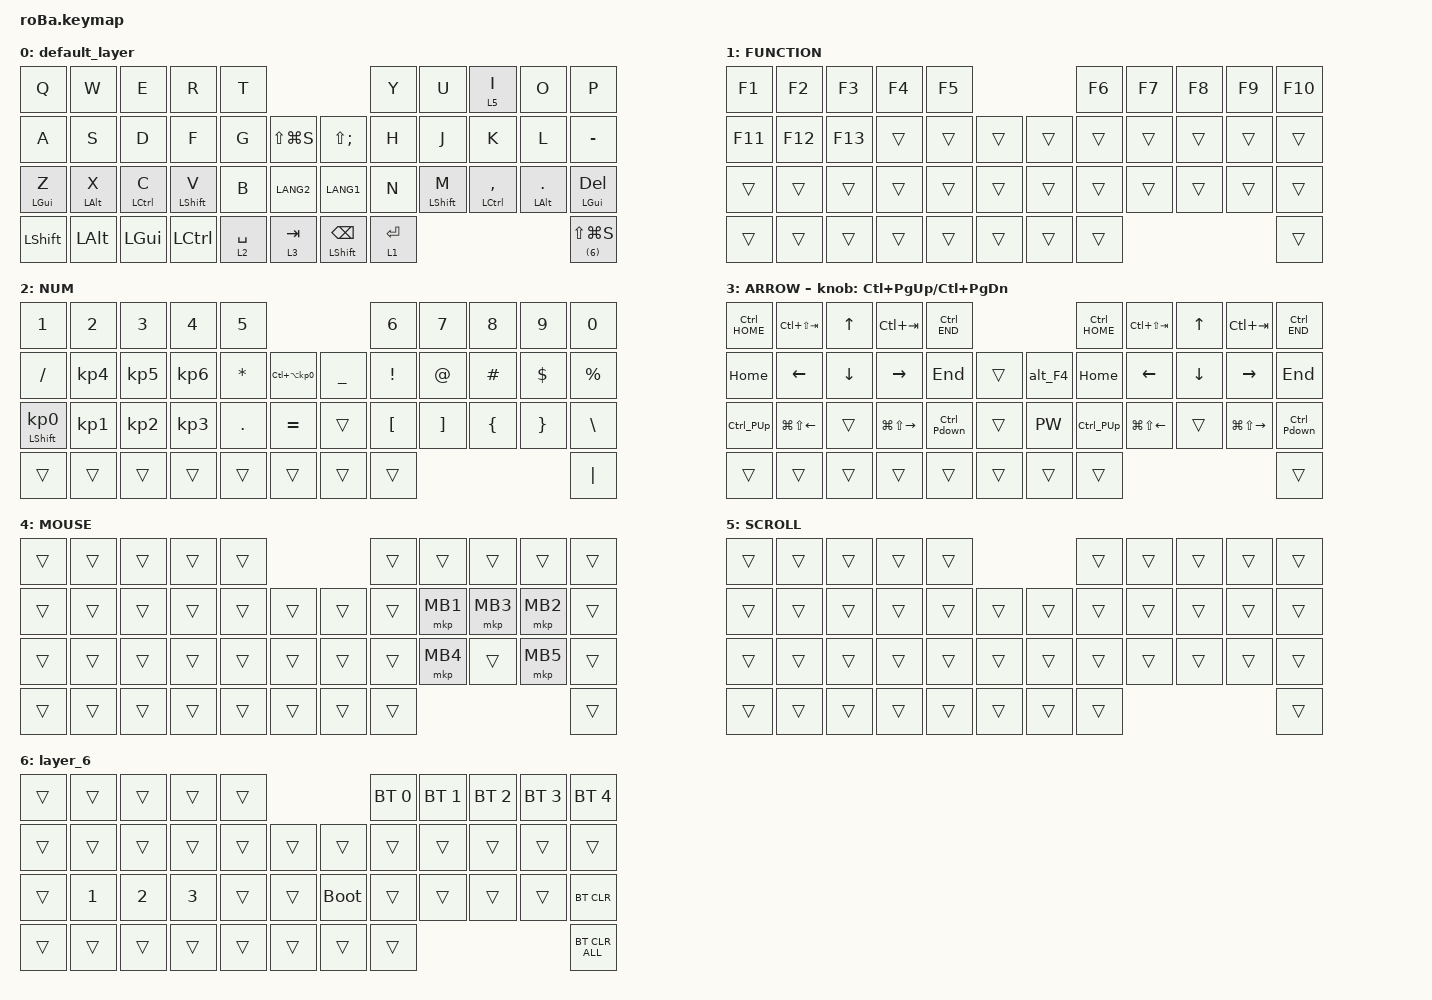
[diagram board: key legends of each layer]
#include <behaviors.dtsi>
#include <dt-bindings/zmk/bt.h>
#include <dt-bindings/zmk/keys.h>
#include <dt-bindings/zmk/pointing.h>

&mt {
    flavor = "balanced";
    quick-tap-ms = <0>;
};

&trackball {
    automouse-layer = <4>;
    scroll-layers = <5>;

    // arrows {
    //     layers = <3>;
    //     bindings =
    //         <&kp RIGHT_ARROW>,
    //         <&kp LEFT_ARROW>,
    //         <&kp UP_ARROW>,
    //         <&kp DOWN_ARROW>;
    //     tick = <10>;
    //     wait-ms = <5>;
    //     tap-ms = <5>;
    // };
};

/ {
    combos {
        compatible = "zmk,combos";

        tab {
            bindings = <&kp TAB>;
            key-positions = <11 12>;
        };

        shift_tab {
            bindings = <&kp LS(TAB)>;
            key-positions = <12 13>;
        };

        double_quotation {
            bindings = <&kp DOUBLE_QUOTES>;
            key-positions = <20 21>;
        };

        eq {
            bindings = <&kp LS(MINUS)>;
            key-positions = <24 25>;
        };

        escape {
            bindings = <&kp ESCAPE>;
            key-positions = <0 1>;
        };

        kakko {
            bindings = <&kakko>;
            key-positions = <31 32>;
        };

        ALT_TAB {
            bindings = <&ALT_TAB>;
            key-positions = <3 4>;
        };
    };

    macros {
        to_layer_0: to_layer_0 {
            compatible = "zmk,behavior-macro-one-param";
            #binding-cells = <1>;
            bindings = <&to 0 &macro_param_1to1 &kp MACRO_PLACEHOLDER>;
            label = "TO_LAYER_0";
        };

        PW: PW {
            compatible = "zmk,behavior-macro";
            #binding-cells = <0>;
            bindings = <&kp KP_NUMBER_1 &kp KP_NUMBER_2 &kp KP_NUMBER_0 &kp KP_NUMBER_9 &kp KP_NUMBER_1 &kp KP_NUMBER_2 &kp KP_NUMBER_0 &kp KP_NUMBER_9 &kp KP_NUMBER_1 &kp KP_NUMBER_2 &kp KP_NUMBER_0 &kp KP_NUMBER_9 &kp KP_NUMBER_1 &kp KP_NUMBER_2 &kp KP_NUMBER_0 &kp KP_NUMBER_9>;
            label = "PW";
        };

        kakko: kakko {
            compatible = "zmk,behavior-macro";
            #binding-cells = <0>;
            wait-ms = <20>;
            tap-ms = <20>;
            bindings = <&kp LS(N8) &kp LS(N9) &kp LEFT>;
        };

        ALT_TAB: ALT_TUB {
            compatible = "zmk,behavior-macro";
            #binding-cells = <0>;
            bindings =
                <&macro_press>,
                <&kp LEFT_ALT>,
                <&macro_tap>,
                <&kp TAB>,
                <&macro_pause_for_release>,
                <&macro_release>,
                <&kp LEFT_ALT>;

            label = "ALT_TUB";
        };

        TAB_F4: TAB_F4 {
            compatible = "zmk,behavior-macro";
            #binding-cells = <0>;
            bindings =
                <&macro_press>,
                <&kp LEFT_ALT>,
                <&macro_tap>,
                <&kp F4>,
                <&macro_release>,
                <&kp LEFT_ALT>;

            label = "TAB_F4";
        };

        alt_F4: Ctrl_ALT {
            compatible = "zmk,behavior-macro";
            #binding-cells = <0>;
            bindings =
                <&macro_press>,
                <&kp LEFT_ALT>,
                <&macro_tap>,
                <&kp F4>,
                <&macro_release>,
                <&kp LEFT_ALT>;

            label = "CTRL_ALT";
        };

        Ctrl_PUp: Ctrl_PUp {
            compatible = "zmk,behavior-macro";
            #binding-cells = <0>;
            bindings =
                <&macro_press>,
                <&kp LEFT_CONTROL>,
                <&macro_tap>,
                <&kp PG_UP>,
                <&macro_release>,
                <&kp LEFT_CONTROL>;

            label = "CTRL_PUP";
        };

        Ctrl_Pdown: Ctrl_Pdown {
            compatible = "zmk,behavior-macro";
            #binding-cells = <0>;
            bindings =
                <&macro_press>,
                <&kp LEFT_CONTROL>,
                <&macro_tap>,
                <&kp PG_DN>,
                <&macro_release>,
                <&kp LEFT_CONTROL>;

            label = "CTRL_PDOWN";
        };

        Ctrl_HOME: Ctrl_HOME {
            compatible = "zmk,behavior-macro";
            #binding-cells = <0>;
            bindings =
                <&macro_press>,
                <&kp LEFT_CONTROL>,
                <&macro_tap>,
                <&kp HOME>,
                <&macro_release>,
                <&kp LEFT_CONTROL>;

            label = "CTRL_HOME";
        };

        Ctrl_END: Ctrl_END {
            compatible = "zmk,behavior-macro";
            #binding-cells = <0>;
            bindings =
                <&macro_press>,
                <&kp LEFT_CONTROL>,
                <&macro_tap>,
                <&kp END>,
                <&macro_release>,
                <&kp LEFT_CONTROL>;

            label = "CTRL_END";
        };
    };

    behaviors {
        lt_to_layer_0: lt_to_layer_0 {
            compatible = "zmk,behavior-hold-tap";
            label = "LAYER_TAP_TO_0";
            bindings = <&mo>, <&to_layer_0>;

            #binding-cells = <2>;
            tapping-term-ms = <200>;
        };
    };

    keymap {
        compatible = "zmk,keymap";

        default_layer {
            bindings = <
&kp Q           &kp W           &kp E               &kp R             &kp T                                                            &kp Y        &kp U             &lt 5 I                 &kp O             &kp P
&kp A           &kp S           &kp D               &kp F             &kp G        &kp LS(LG(S))             &kp LS(SEMICOLON)         &kp H        &kp J             &kp K                   &kp L             &kp MINUS
&mt LEFT_GUI Z  &mt LEFT_ALT X  &mt LEFT_CONTROL C  &mt LEFT_SHIFT V  &kp B        &kp LANG2                 &kp LANG1                 &kp N        &mt LEFT_SHIFT M  &mt LEFT_CONTROL COMMA  &mt LEFT_ALT DOT  &mt LEFT_GUI DELETE
&kp LEFT_SHIFT  &kp LEFT_ALT    &kp LEFT_GUI        &kp LEFT_CONTROL  &lt 2 SPACE  &lt_to_layer_0 3 TAB      &mt LEFT_SHIFT BACKSPACE  &lt 1 ENTER                                                              &lt (6) LS(LG(S))
            >;
        };

        FUNCTION {
            bindings = <
&kp F1   &kp F2   &kp F3   &kp F4  &kp F5                      &kp F6  &kp F7  &kp F8  &kp F9  &kp F10
&kp F11  &kp F12  &kp F13  &trans  &trans  &trans      &trans  &trans  &trans  &trans  &trans  &trans
&trans   &trans   &trans   &trans  &trans  &trans      &trans  &trans  &trans  &trans  &trans  &trans
&trans   &trans   &trans   &trans  &trans  &trans      &trans  &trans                          &trans
            >;
        };

        NUM {
            bindings = <
&kp NUMBER_1                &kp NUMBER_2     &kp NUMBER_3     &kp NUMBER_4     &kp NUMBER_5                                               &kp NUMBER_6      &kp NUMBER_7       &kp NUMBER_8    &kp NUMBER_9     &kp NUMBER_0
&kp SLASH                   &kp KP_NUMBER_4  &kp KP_NUMBER_5  &kp KP_NUMBER_6  &kp ASTERISK  &kp LC(LA(KP_NUMBER_0))      &kp UNDERSCORE  &kp EXCLAMATION   &kp AT_SIGN        &kp HASH        &kp DOLLAR       &kp PERCENT
&mt LEFT_SHIFT KP_NUMBER_0  &kp KP_NUMBER_1  &kp KP_NUMBER_2  &kp KP_NUMBER_3  &kp PERIOD    &kp EQUAL                    &trans          &kp LEFT_BRACKET  &kp RIGHT_BRACKET  &kp LEFT_BRACE  &kp RIGHT_BRACE  &kp BACKSLASH
&trans                      &trans           &trans           &trans           &trans        &trans                       &trans          &trans                                                                &kp PIPE
            >;
        };

        ARROW {
            bindings = <
&Ctrl_HOME  &kp LC(LS(TAB))         &kp UP_ARROW    &kp LC(TAB)              &Ctrl_END                         &Ctrl_HOME  &kp LC(LS(TAB))         &kp UP_ARROW    &kp LC(TAB)              &Ctrl_END
&kp HOME    &kp LEFT_ARROW          &kp DOWN_ARROW  &kp RIGHT_ARROW          &kp END      &trans      &alt_F4  &kp HOME    &kp LEFT_ARROW          &kp DOWN_ARROW  &kp RIGHT_ARROW          &kp END
&Ctrl_PUp   &kp LG(LS(LEFT_ARROW))  &trans          &kp LG(LS(RIGHT_ARROW))  &Ctrl_Pdown  &trans      &PW      &Ctrl_PUp   &kp LG(LS(LEFT_ARROW))  &trans          &kp LG(LS(RIGHT_ARROW))  &Ctrl_Pdown
&trans      &trans                  &trans          &trans                   &trans       &trans      &trans   &trans                                                                       &trans
            >;

            sensor-bindings = <&inc_dec_kp LC(PAGE_UP) LC(PAGE_DOWN)>;
        };

        MOUSE {
            bindings = <
&trans  &trans  &trans  &trans  &trans                      &trans  &trans    &trans    &trans    &trans
&trans  &trans  &trans  &trans  &trans  &trans      &trans  &trans  &mkp MB1  &mkp MB3  &mkp MB2  &trans
&trans  &trans  &trans  &trans  &trans  &trans      &trans  &trans  &mkp MB4  &trans    &mkp MB5  &trans
&trans  &trans  &trans  &trans  &trans  &trans      &trans  &trans                                &trans
            >;
        };

        SCROLL {
            bindings = <
&trans  &trans  &trans  &trans  &trans                      &trans  &trans  &trans  &trans  &trans
&trans  &trans  &trans  &trans  &trans  &trans      &trans  &trans  &trans  &trans  &trans  &trans
&trans  &trans  &trans  &trans  &trans  &trans      &trans  &trans  &trans  &trans  &trans  &trans
&trans  &trans  &trans  &trans  &trans  &trans      &trans  &trans                          &trans
            >;
        };

        layer_6 {
            bindings = <
&trans  &trans        &trans        &trans        &trans                           &bt BT_SEL 0  &bt BT_SEL 1  &bt BT_SEL 2  &bt BT_SEL 3  &bt BT_SEL 4
&trans  &trans        &trans        &trans        &trans  &trans      &trans       &trans        &trans        &trans        &trans        &trans
&trans  &kp NUMBER_1  &kp NUMBER_2  &kp NUMBER_3  &trans  &trans      &bootloader  &trans        &trans        &trans        &trans        &bt BT_CLR
&trans  &trans        &trans        &trans        &trans  &trans      &trans       &trans                                                  &bt BT_CLR_ALL
            >;
        };
    };
};
